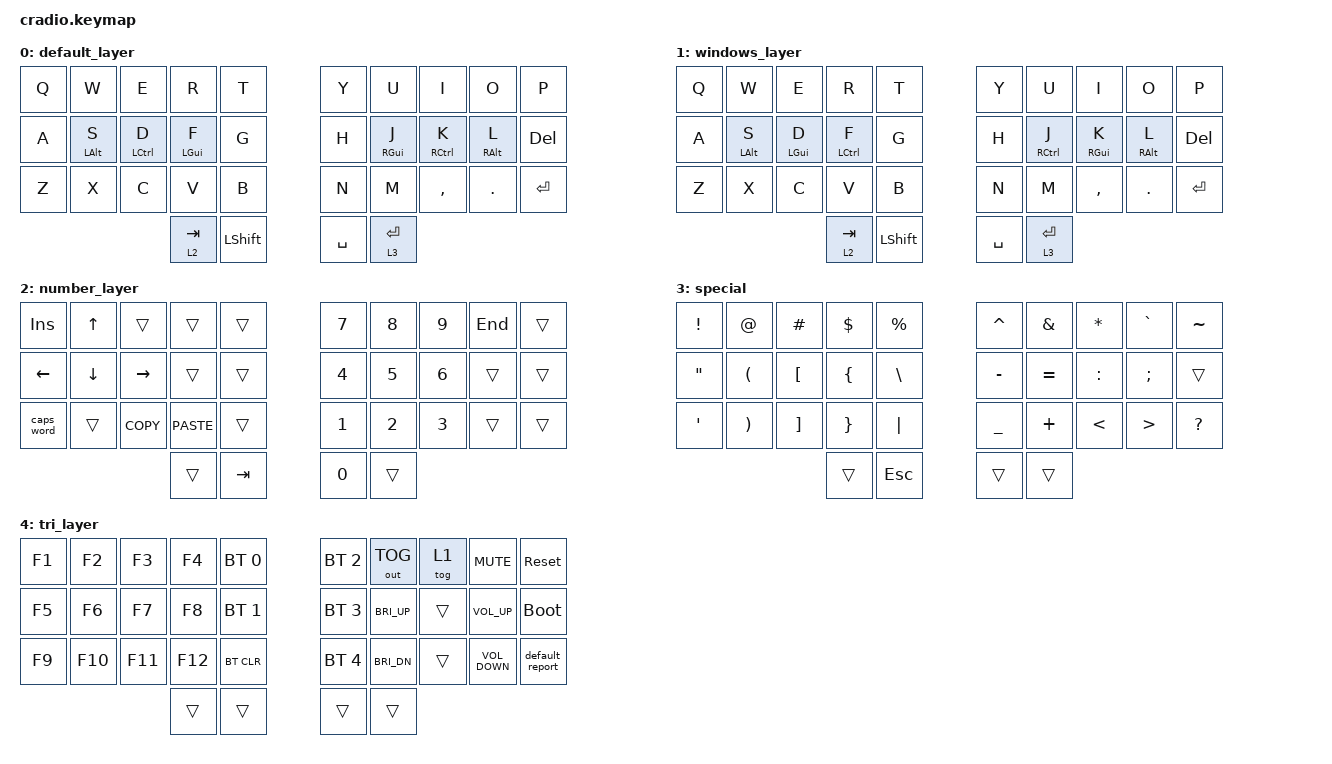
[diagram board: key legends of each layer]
// Copyright (c) 2022 The ZMK Contributors
// SPDX-License-Identifier: MIT

#include <behaviors.dtsi>
#include <dt-bindings/zmk/bt.h>
#include <dt-bindings/zmk/keys.h>
#include <dt-bindings/zmk/outputs.h>

/ {
    chosen {
        zmk,charmap = &charmap_us;
    };

    behaviors {
        ht: hold_tap {
            compatible = "zmk,behavior-hold-tap";
            #binding-cells = <2>;
            flavor = "tap-preferred";
            tapping-term-ms = <220>;
            quick-tap-ms = <150>;
            require-prior-idle-ms = <100>;
            bindings = <&kp>, <&kp>;
        };
    };

    conditional_layers {
        compatible = "zmk,conditional-layers";

        tri_layer {
            if-layers = <2 3>;
            then-layer = <4>;
        };
    };

    keymap {
        compatible = "zmk,keymap";

        default_layer {
            bindings = <
&kp Q  &kp W           &kp E        &kp R       &kp T         &kp Y      &kp U        &kp I        &kp O       &kp P
&kp A  &ht LEFT_ALT S  &ht LCTRL D  &ht LGUI F  &kp G         &kp H      &ht RGUI J   &ht RCTRL K  &ht RALT L  &kp DEL
&kp Z  &kp X           &kp C        &kp V       &kp B         &kp N      &kp M        &kp COMMA    &kp DOT     &kp ENTER
                                    &lt 2 TAB   &kp LSHIFT    &kp SPACE  &lt 3 ENTER
            >;
        };

        windows_layer {
            bindings = <
&kp Q  &kp W           &kp E       &kp R        &kp T         &kp Y      &kp U        &kp I       &kp O       &kp P
&kp A  &ht LEFT_ALT S  &ht LGUI D  &ht LCTRL F  &kp G         &kp H      &ht RCTRL J  &ht RGUI K  &ht RALT L  &kp DEL
&kp Z  &kp X           &kp C       &kp V        &kp B         &kp N      &kp M        &kp COMMA   &kp DOT     &kp ENTER
                                   &lt 2 TAB    &kp LSHIFT    &kp SPACE  &lt 3 ENTER
            >;
        };

        number_layer {
            bindings = <
&kp INS     &kp UP    &trans      &trans       &trans     &kp N7  &kp N8  &kp N9  &kp END  &trans
&kp LEFT    &kp DOWN  &kp RIGHT   &trans       &trans     &kp N4  &kp N5  &kp N6  &trans   &trans
&caps_word  &trans    &kp K_COPY  &kp K_PASTE  &trans     &kp N1  &kp N2  &kp N3  &trans   &trans
                                  &trans       &kp TAB    &kp N0  &trans
            >;
        };

        special_character_layer {
            bindings = <
&kp EXCL           &kp AT                 &kp HASH           &kp DOLLAR       &kp PRCNT        &kp CARET  &kp AMPS   &kp STAR       &kp GRAVE         &kp TILDE
&kp DOUBLE_QUOTES  &kp LEFT_PARENTHESIS   &kp LEFT_BRACKET   &kp LEFT_BRACE   &kp BACKSLASH    &kp MINUS  &kp EQUAL  &kp COLON      &kp SEMI          &trans
&kp SINGLE_QUOTE   &kp RIGHT_PARENTHESIS  &kp RIGHT_BRACKET  &kp RIGHT_BRACE  &kp PIPE         &kp UNDER  &kp PLUS   &kp LESS_THAN  &kp GREATER_THAN  &kp QUESTION
                                                             &trans           &kp ESCAPE       &trans     &trans
            >;

            label = "special";
        };

        tri_layer {
            bindings = <
&kp F1  &kp F2   &kp F3   &kp F4   &bt BT_SEL 0    &bt BT_SEL 2  &out OUT_TOG  &tog 1  &kp C_MUTE         &sys_reset
&kp F5  &kp F6   &kp F7   &kp F8   &bt BT_SEL 1    &bt BT_SEL 3  &kp C_BRI_UP  &trans  &kp C_VOL_UP       &bootloader
&kp F9  &kp F10  &kp F11  &kp F12  &bt BT_CLR      &bt BT_SEL 4  &kp C_BRI_DN  &trans  &kp C_VOLUME_DOWN  &default_report
                          &trans   &trans          &trans        &trans
            >;
        };
    };
};
